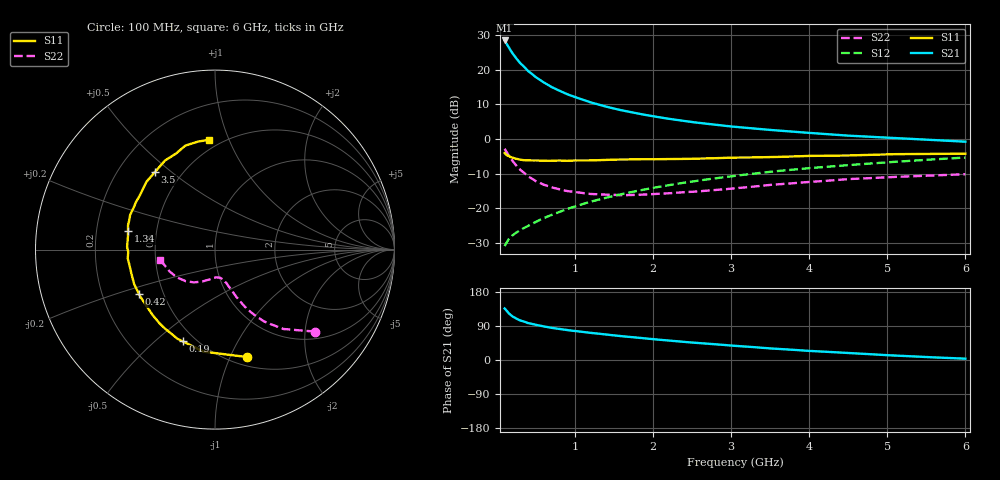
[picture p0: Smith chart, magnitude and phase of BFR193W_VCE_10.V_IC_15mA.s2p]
! Infineon Technologies  Discrete & RF Semiconductors
! BFR193W
! VCE =  10. V,  IC =  15 mA
! Common Emitter S-Parameters:  Nov 2015
# GHz  S  MA  R  50
!  f  S11  S21  S12  S22
! GHz  MAG  ANG  MAG  ANG  MAG  ANG  MAG  ANG
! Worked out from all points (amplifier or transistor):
!   192 points, 100 MHz to 6 GHz, reference 50 ohm
!   highest |S21| = 28.4 dB at 100 MHz (marker M1)
!   |S21| within 3 dB of that: start of sweep to 181.2 MHz
!   unconditionally stable (mu >= 1): 884.3 MHz to 2.648 GHz
!   at 440 MHz: K = 0.80, MSG = 21.8 dB, |S12| = -24.6 dB
!   at 1.7 GHz: K = 1.03, MAG = 10.5 dB, |S12| = -15.4 dB
!   at 6 GHz: K = 0.90, MSG = 2.3 dB, |S12| = -5.4 dB
!   S11 on the Smith chart (normalised r, x): 100 MHz: 0.59, -1.16; 190 MHz: 0.43, -0.62; 420 MHz: 0.36, -0.24; 1.34 GHz: 0.34, +0.09; 3.5 GHz: 0.36, +0.44; 6 GHz: 0.43, +0.85
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0.1  0.6254 -73.2  26.34 136.0  0.0284 59.8  0.7213 -39.3
0.15  0.572 -96.4  21.08 123.5  0.0355 54.7  0.5834 -49.3
0.19  0.5419 -109.4  17.99 116.9  0.0395 53.1  0.5037 -54.2
0.2  0.539 -112.8  17.26 114.9  0.0405 52.7  0.4845 -55.7
0.24  0.5204 -122.6  15 110.3  0.0439 52.5  0.4245 -58.9
0.26  0.5141 -126.9  14.04 108.1  0.0454 52.7  0.3997 -60.3
0.3  0.503 -134.2  12.4 104.3  0.0484 53.4  0.3598 -62.4
0.4  0.4917 -148.0  9.561 97.5  0.0558 55.4  0.2889 -65.7
0.42  0.4904 -149.8  9.198 96.7  0.0574 55.9  0.2804 -66.0
0.5  0.4898 -156.9  7.773 92.5  0.0637 57.5  0.2463 -67.6
0.6  0.4845 -163.9  6.544 88.5  0.072 59.6  0.2187 -69.7
0.7  0.484 -169.5  5.622 84.9  0.08 61.2  0.2004 -70.8
0.9  0.4837 -178.4  4.422 79.0  0.0975 63.2  0.1773 -73.5
1.1  0.4893 174.8  3.69 74.2  0.1152 64.3  0.1662 -76.9
1.34  0.4952 168.1  3.053 68.7  0.1366 64.7  0.1579 -81.3
1.6  0.504 161.7  2.586 62.8  0.1601 64.6  0.1544 -86.2
2.08  0.5111 151.4  2.052 53.5  0.2043 63.1  0.1615 -95.3
3.1  0.5383 133.8  1.478 36.7  0.2983 57.3  0.1961 -114.2
3.5  0.547 127.7  1.349 30.6  0.3359 54.5  0.2173 -122.8
4.1  0.5702 117.8  1.201 23.0  0.3871 49.7  0.2437 -135.2
5.1  0.6033 104.5  1.03 11.8  0.4681 41.6  0.2833 -156.3
6  0.613 93.0  0.913 3.5  0.5392 34.0  0.3098 -169.3
